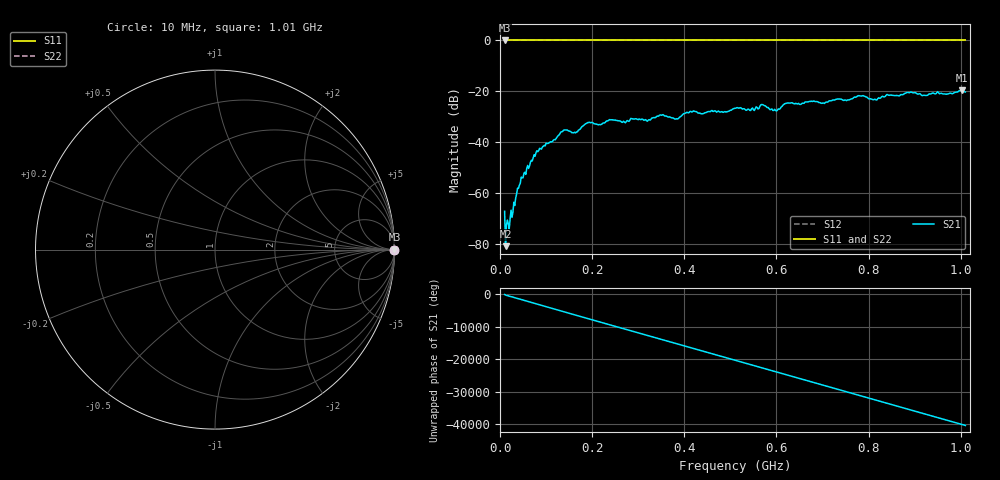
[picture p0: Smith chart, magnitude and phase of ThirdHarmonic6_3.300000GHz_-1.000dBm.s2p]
! 8/17/2025 10:17:16 AM
! C:\ANRITSUVNA\TEMP\TEMP.S2P
! CHANNEL.1
! TR.MEASUREMENT
! RAW.DATA
! RF.CORRECTION.OFF
! AVERAGING.OFF
! IF.BANDWIDTH: 5KHZ
! SWEEPTYPE:  FREQ.SWEEP(Linear)
! Reference Plane Port Info
! PORT:  PORT1  PORT2
! DISTANCE:  0  m  0  m
! TIME:  0  s  0  s
! PHASE.OFFSET:  0  deg.  0  deg.
! LOSS:  0  dB  0  dB
! REF.LOSS:  0  dB  0  dB
! REF.FREQ:  0  Hz  0  Hz
! Power Info
! POWER:  -20  dBm  -20  dBm
! EFF.POWER:  -20  dBm  -20  dBm
! SOURCE.ATTEN:  0  dB  0  dB
! TEST.ATTEN:  0  dB  0  dB
# GHZ S RI R 50.0
! FREQ.GHZ  S11RE  S11IM  S21RE  S21IM  S12RE  S12IM  S22RE  S22IM
!; PortSelection: Port_12
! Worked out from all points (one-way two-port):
!   501 points, 10 MHz to 1.01 GHz, reference 50 ohm
!   highest |S21| = -19.63 dB at 1.002 GHz (marker M1); lowest = -80.8 dB at 12 MHz (marker M2)
!   lowest |S11| = 0.0 dB at 10 MHz (marker M3)
!   |S11| at or under -10 dB: nowhere
!   |S22| runs from 0.0 to 0.0 dB; largest |S21 - S12| = 1.1
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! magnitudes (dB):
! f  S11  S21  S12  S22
! 10 MHz  0.0  -67.1  0.0  0.0
! 12 MHz  0.0  -80.8  0.0  0.0
! 16 MHz  0.0  -70.5  0.0  0.0
! 42 MHz  0.0  -56.9  0.0  0.0
! 82 MHz  0.0  -43.7  0.0  0.0
! 136 MHz  0.0  -35.7  0.0  0.0
! 164 MHz  0.0  -36.3  0.0  0.0
! 178 MHz  0.0  -33.8  0.0  0.0
! 194 MHz  0.0  -32.1  0.0  0.0
! 344 MHz  0.0  -29.7  0.0  0.0
! 382 MHz  0.0  -30.8  0.0  0.0
! 416 MHz  0.0  -28.1  0.0  0.0
! 510 MHz  0.0  -26.6  0.0  0.0
! 570 MHz  0.0  -25.2  0.0  0.0
! 598 MHz  0.0  -27.5  0.0  0.0
! 622 MHz  0.0  -24.6  0.0  0.0
! 678 MHz  0.0  -24.0  0.0  0.0
! 782 MHz  0.0  -21.8  0.0  0.0
! 814 MHz  0.0  -23.1  0.0  0.0
! 844 MHz  0.0  -21.5  0.0  0.0
! 1.002 GHz  0.0  -19.6  0.0  0.0
! 1.01 GHz  0.0  -20.2  0.0  0.0
